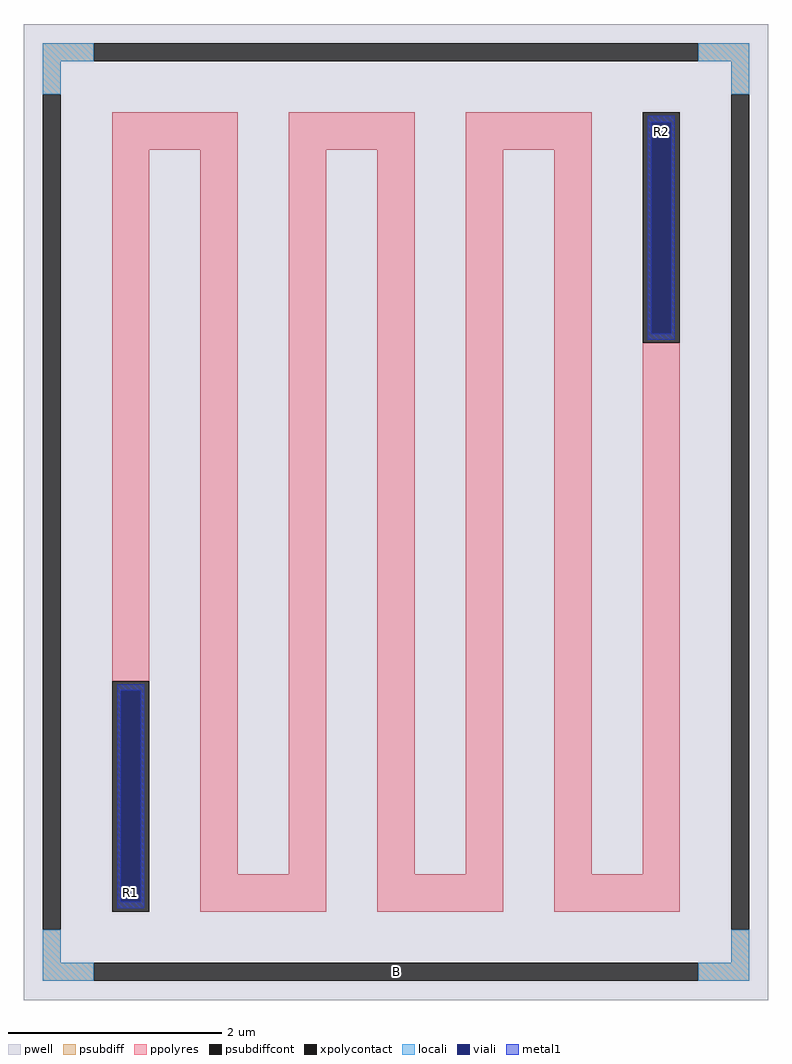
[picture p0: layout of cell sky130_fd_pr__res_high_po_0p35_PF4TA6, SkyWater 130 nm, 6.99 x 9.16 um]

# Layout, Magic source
magic
tech sky130A
magscale 1 2
<< pwell >>
rect -699 -916 699 916
<< psubdiff >>
rect -663 846 -567 880
rect 567 846 663 880
rect -663 784 -629 846
rect 629 784 663 846
rect -663 -846 -629 -784
rect 629 -846 663 -784
rect -663 -880 -567 -846
rect 567 -880 663 -846
<< psubdiffcont >>
rect -567 846 567 880
rect -663 -784 -629 784
rect 629 -784 663 784
rect -567 -880 567 -846
<< xpolycontact >>
rect -533 -750 -463 -318
rect 463 318 533 750
<< ppolyres >>
rect -533 680 -297 750
rect -533 -318 -463 680
rect -367 -680 -297 680
rect -201 680 35 750
rect -201 -680 -131 680
rect -367 -750 -131 -680
rect -35 -680 35 680
rect 131 680 367 750
rect 131 -680 201 680
rect -35 -750 201 -680
rect 297 -680 367 680
rect 463 -680 533 318
rect 297 -750 533 -680
<< locali >>
rect -663 846 -567 880
rect 567 846 663 880
rect -663 784 -629 846
rect 629 784 663 846
rect -663 -846 -629 -784
rect 629 -846 663 -784
rect -663 -880 -567 -846
rect 567 -880 663 -846
<< viali >>
rect 479 335 517 732
rect -517 -732 -479 -335
<< metal1 >>
rect 473 732 523 744
rect 473 335 479 732
rect 517 335 523 732
rect 473 323 523 335
rect -523 -335 -473 -323
rect -523 -732 -517 -335
rect -479 -732 -473 -335
rect -523 -744 -473 -732
<< labels >>
rlabel psubdiffcont 0 -863 0 -863 0 B
port 1 nsew
rlabel xpolycontact -498 -715 -498 -715 0 R1
port 2 nsew
rlabel xpolycontact 498 715 498 715 0 R2
port 3 nsew
<< properties >>
string FIXED_BBOX -646 -863 646 863
string gencell sky130_fd_pr__res_high_po_0p35
string library sky130
string parameters w 0.35 l 7.5 m 1 nx 7 wmin 0.350 lmin 0.50 class resistor rho 319.8 val 51.002k dummy 0 dw 0.0 term 194.82 sterm 0.0 caplen 0 guard 1 glc 1 grc 1 gtc 1 gbc 1 compatible {sky130_fd_pr__res_high_po_0p35  sky130_fd_pr__res_high_po_0p69 sky130_fd_pr__res_high_po_1p41  sky130_fd_pr__res_high_po_2p85 sky130_fd_pr__res_high_po_5p73} snake 1 full_metal 1 wmax 0.350 vias 1 n_guard 0 hv_guard 0 viagb 0 viagt 0 viagl 0 viagr 0 doports 1
<< end >>
